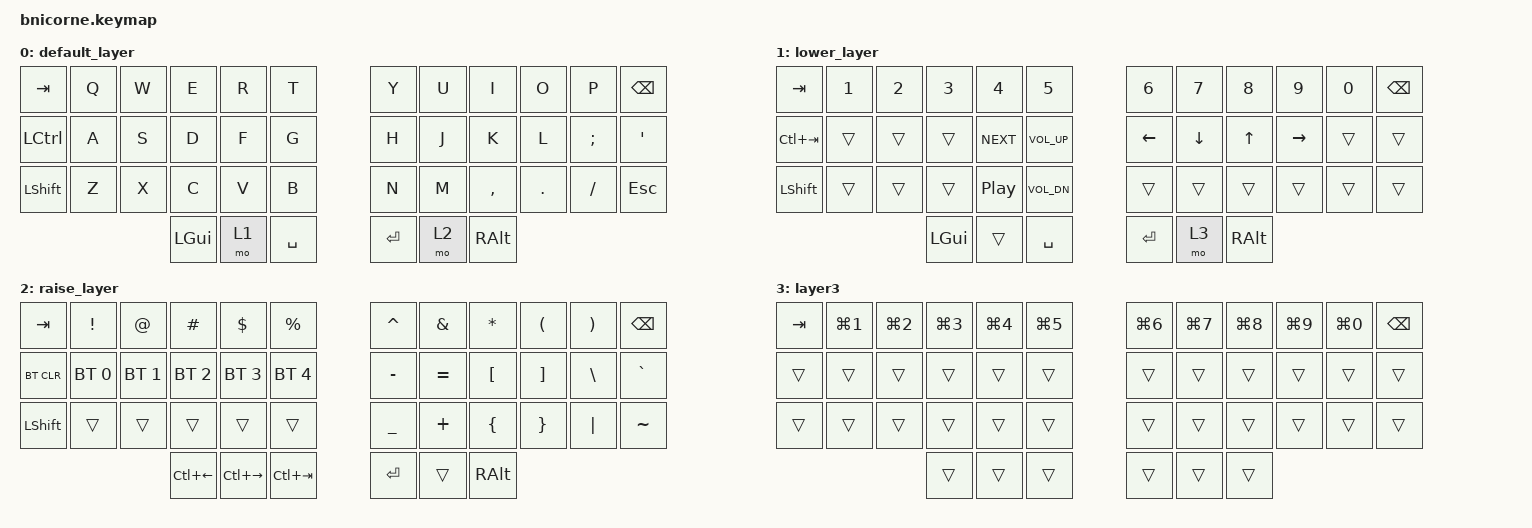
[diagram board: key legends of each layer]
/*
 * Copyright (c) 2020 The ZMK Contributors
 *
 * SPDX-License-Identifier: MIT
 */

#include <behaviors.dtsi>
#include <dt-bindings/zmk/keys.h>
#include <dt-bindings/zmk/bt.h>

/ {
        keymap {
                compatible = "zmk,keymap";

                default_layer {
// -----------------------------------------------------------------------------------------
// |  TAB |  Q  |  W  |  E  |  R  |  T  |   |  Y  |  U   |  I  |  O  |  P  | BKSP |
// | CTRL |  A  |  S  |  D  |  F  |  G  |   |  H  |  J   |  K  |  L  |  ;  |  '   |
// | SHFT |  Z  |  X  |  C  |  V  |  B  |   |  N  |  M   |  ,  |  .  |  /  | ESC  |
//                    | GUI | LWR | SPC |   | ENT | RSE  | ALT |
                        bindings = <
&kp TAB   &kp Q    &kp W    &kp E    &kp R    &kp T     &kp Y    &kp U     &kp I     &kp O    &kp P    &kp BSPC
&kp LCTRL &kp A    &kp S    &kp D    &kp F    &kp G     &kp H    &kp J     &kp K     &kp L    &kp SEMI &kp SQT
&kp LSHFT &kp Z    &kp X    &kp C    &kp V    &kp B     &kp N    &kp M     &kp COMMA &kp DOT  &kp FSLH &kp ESC
                        &kp LGUI &mo 1   &kp SPACE   &kp RET   &mo 2   &kp RALT
                        >;
                };
                lower_layer {
// -----------------------------------------------------------------------------------------
// |  TAB |  1  |  2  |  3  |  4  |  5  |   |  6  |  7  |  8  |  9  |  0  | BKSP |
// | CTAB |     |     |     | NXT | VLUP|   | LFT | DWN |  UP | RGT |     |      |
// | SHFT |     |     |     | PLY | VLDN|   |     |     |     |     |     |      |
//                    | GUI |     | SPC |   | ENT | LR3 | ALT |
                bindings = <
&kp TAB     &kp N1    &kp N2    &kp N3    &kp N4    &kp N5     &kp N6   &kp N7   &kp N8   &kp N9    &kp N0   &kp BSPC
&kp LC(TAB) &trans    &trans    &trans    &kp C_NEXT &kp C_VOL_UP &kp LEFT &kp DOWN &kp UP   &kp RIGHT &trans   &trans
&kp LSHFT   &trans    &trans    &trans    &kp C_PP   &kp C_VOL_DN &trans   &trans   &trans   &trans    &trans   &trans
                        &kp LGUI   &trans    &kp SPACE  &kp RET   &mo 3    &kp RALT
                        >;
                };

                raise_layer {
// -----------------------------------------------------------------------------------------
// |  TAB |  !  |  @  |  #  |  $  |  %  |   |  ^  |  &  |  *  |  (  |  )  | BKSP |
// | BTCLR| BT1 | BT2 | BT3 | BT4 | BT5 |   |  -  |  =  |  [  |  ]  |  \  |  `   |
// | SHFT |     |     |     |     |     |   |  _  |  +  |  {  |  }  | "|" |  ~   |
//                    |C+LFT|C+RGT|C+TAB|   | ENT |     | ALT |
                        bindings = <
&kp TAB     &kp EXCL     &kp AT      &kp HASH    &kp DLLR    &kp PRCNT   &kp CARET &kp AMPS  &kp ASTRK &kp LPAR  &kp RPAR  &kp BSPC
&bt BT_CLR  &bt BT_SEL 0 &bt BT_SEL 1 &bt BT_SEL 2 &bt BT_SEL 3 &bt BT_SEL 4 &kp MINUS &kp EQUAL &kp LBKT  &kp RBKT  &kp BSLH  &kp GRAVE
&kp LSHFT   &trans       &trans      &trans      &trans      &trans     &kp UNDER &kp PLUS  &kp LBRC  &kp RBRC  &kp PIPE  &kp TILDE
                        &kp LC(LEFT) &kp LC(RIGHT) &kp LC(TAB)  &kp RET   &trans    &kp RALT
                        >;
                };

                layer3 {
// -----------------------------------------------------------------------------------------
// |  TAB | G+1 | G+2 | G+3 | G+4 | G+5 |   | G+6 | G+7 | G+8 | G+9 | G+0 | BKSP |
// |      |     |     |     |     |     |   |     |     |     |     |     |      |
// |      |     |     |     |     |     |   |     |     |     |     |     |      |
//                    |     |     |     |   |     |     |     |
                        bindings = <
&kp TAB   &kp LG(N1) &kp LG(N2) &kp LG(N3) &kp LG(N4) &kp LG(N5)   &kp LG(N6) &kp LG(N7) &kp LG(N8) &kp LG(N9) &kp LG(N0) &kp BSPC
&trans    &trans     &trans     &trans     &trans     &trans       &trans     &trans     &trans     &trans     &trans     &trans
&trans    &trans     &trans     &trans     &trans     &trans       &trans     &trans     &trans     &trans     &trans     &trans
                        &trans     &trans     &trans     &trans       &trans     &trans
                        >;
                };
        };
};
